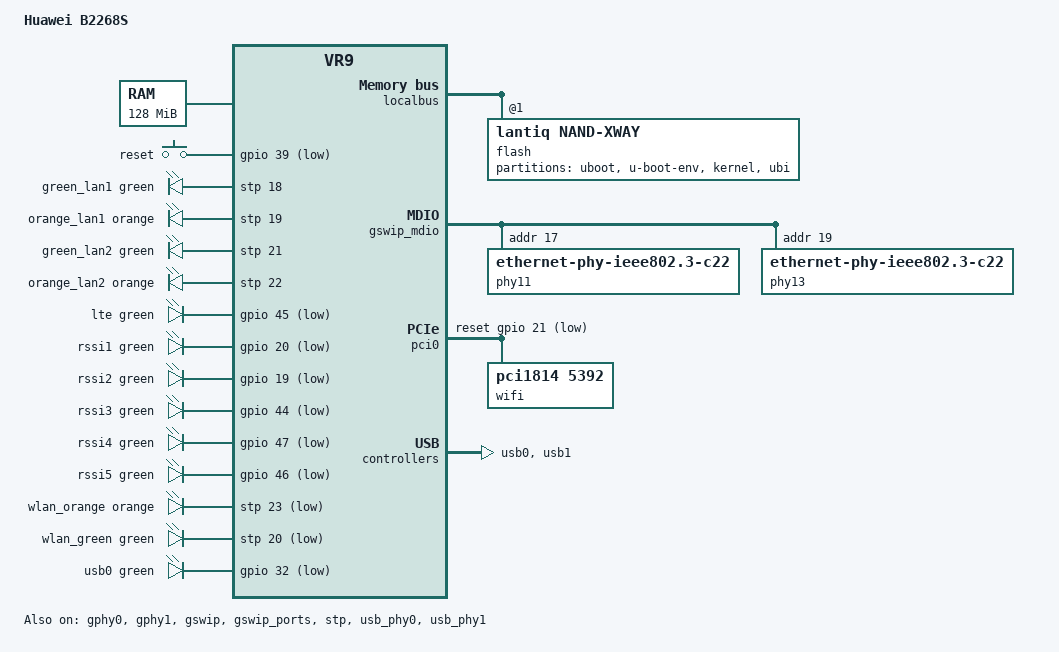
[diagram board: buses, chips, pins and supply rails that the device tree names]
/dts-v1/;
#include "vr9.dtsi"
#include <dt-bindings/input/input.h>
#include <dt-bindings/leds/common.h>
#include <dt-bindings/mips/lantiq_rcu_gphy.h>
/ {
	compatible = "huawei,b2268s", "lantiq,xway", "lantiq,vr9";
	model = "Huawei B2268S";
	chosen {
		bootargs = "console=ttyLTQ0,115200 init=/etc/preinit";
	};
	memory@0 {
		device_type = "memory";
		reg = <0x0 0x8000000>;
	};
	keys {
		compatible = "gpio-keys-polled";
		poll-interval = <100>;
		reset {
			label = "reset";
			gpios = <&gpio 39 GPIO_ACTIVE_LOW>;
			linux,code = <KEY_RESTART>;
		};
	};
	leds {
		compatible = "gpio-leds";

		green_lan1 {
			color = <LED_COLOR_ID_GREEN>;
			function = LED_FUNCTION_LAN;
			function-enumerator = <1>;
			gpios = <&stp 18 GPIO_ACTIVE_HIGH>;
		};
		orange_lan1 {
			color = <LED_COLOR_ID_ORANGE>;
			function = LED_FUNCTION_LAN;
			function-enumerator = <1>;
			gpios = <&stp 19 GPIO_ACTIVE_HIGH>;
		};
		green_lan2 {
			color = <LED_COLOR_ID_GREEN>;
			function = LED_FUNCTION_LAN;
			function-enumerator = <2>;
			gpios = <&stp 21 GPIO_ACTIVE_HIGH>;
		};
		orange_lan2 {
			color = <LED_COLOR_ID_ORANGE>;
			function = LED_FUNCTION_LAN;
			function-enumerator = <2>;
			gpios = <&stp 22 GPIO_ACTIVE_HIGH>;
		};
		lte {
			color = <LED_COLOR_ID_GREEN>;
			function = LED_FUNCTION_MOBILE;
			gpios = <&gpio 45 GPIO_ACTIVE_LOW>;
		};
		rssi1 {
			color = <LED_COLOR_ID_GREEN>;
			function = LED_FUNCTION_INDICATOR;
			function-enumerator = <1>;
			gpios = <&gpio 20 GPIO_ACTIVE_LOW>;
		};
		rssi2 {
			color = <LED_COLOR_ID_GREEN>;
			function = LED_FUNCTION_INDICATOR;
			function-enumerator = <2>;
			gpios = <&gpio 19 GPIO_ACTIVE_LOW>;
		};
		rssi3 {
			color = <LED_COLOR_ID_GREEN>;
			function = LED_FUNCTION_INDICATOR;
			function-enumerator = <3>;
			gpios = <&gpio 44 GPIO_ACTIVE_LOW>;
		};
		rssi4 {
			color = <LED_COLOR_ID_GREEN>;
			function = LED_FUNCTION_INDICATOR;
			function-enumerator = <4>;
			gpios = <&gpio 47 GPIO_ACTIVE_LOW>;
		};
		rssi5 {
			color = <LED_COLOR_ID_GREEN>;
			function = LED_FUNCTION_INDICATOR;
			function-enumerator = <5>;
			gpios = <&gpio 46 GPIO_ACTIVE_LOW>;
		};
		wlan_orange {
			color = <LED_COLOR_ID_ORANGE>;
			function = LED_FUNCTION_WLAN;
			gpios = <&stp 23 GPIO_ACTIVE_LOW>;
		};
		wlan_green {
			color = <LED_COLOR_ID_GREEN>;
			function = LED_FUNCTION_WLAN;
			gpios = <&stp 20 GPIO_ACTIVE_LOW>;
		};
		usb0 {
			color = <LED_COLOR_ID_GREEN>;
			function = LED_FUNCTION_USB;
			gpios = <&gpio 32 GPIO_ACTIVE_LOW>;
			trigger-sources = <&ehci_port1>;
			linux,default-trigger = "usbport";
		};
	};
};
&gphy0 {
	lantiq,gphy-mode = <GPHY_MODE_GE>;
	status = "okay";
};
&gphy1 {
	lantiq,gphy-mode = <GPHY_MODE_GE>;
	status = "okay";
};
&localbus {
	flash@0 {
		compatible = "lantiq,nand-xway";
		lantiq,cs = <1>;
		bank-width = <1>;
		reg = <1 0x0 0x2000000>;
		pinctrl-0 = <&nand_pins>, <&nand_cs1_pins>;
		pinctrl-names = "default";
		partitions {
			compatible = "fixed-partitions";
			#address-cells = <1>;
			#size-cells = <1>;
			partition@0 {
				label = "uboot";
				reg = <0x00000 0x40000>;
				read-only;
			};
			partition@40000 {
				label = "u-boot-env";
				reg = <0x40000 0x20000>;
			};
			partition@60000 {
				label = "kernel";
				reg = <0x60000 0x500000>;
			};
			partition@560000 {
				label = "ubi";
				reg = <0x560000 0x7aa0000>;
			};
		};
	};
};
&gswip {
	pinctrl-0 = <&mdio_pins>,
		    <&gphy0_led1_pins>, <&gphy0_led2_pins>,
		    <&gphy1_led1_pins>, <&gphy1_led2_pins>;
	pinctrl-names = "default";
	status = "okay";
};
&gswip_mdio {
	status = "okay";
	phy11: ethernet-phy@11 {
		reg = <0x11>;
		compatible = "ethernet-phy-ieee802.3-c22";
	};
	phy13: ethernet-phy@13 {
		reg = <0x13>;
		compatible = "ethernet-phy-ieee802.3-c22";
	};
};
&gswip_ports {
	status = "okay";
	port@2 {
		reg = <2>;
		label = "lan2";
		phy-mode = "internal";
		phy-handle = <&phy11>;
		status = "okay";
	};
	port@4 {
		reg = <4>;
		label = "lan1";
		phy-mode = "internal";
		phy-handle = <&phy13>;
		status = "okay";
	};
	port@0 { status = "disabled"; };
	port@1 { status = "disabled"; };
	port@3 { status = "disabled"; };
};
&pci0 {
	status = "okay";
	reset-gpios = <&gpio 21 GPIO_ACTIVE_LOW>;
	wifi@e,0 {
		compatible = "pci1814,5392";
		reg = <0x7000 0 0 0 0>;
		ralink,eeprom = "RT5392.eeprom";
	};
};
&stp { status = "okay"; };
&gpio { status = "okay"; };
&usb_phy0 { status = "okay"; };
&usb_phy1 { status = "okay"; };
&usb0 { status = "okay"; };
&usb1 { status = "okay"; };
